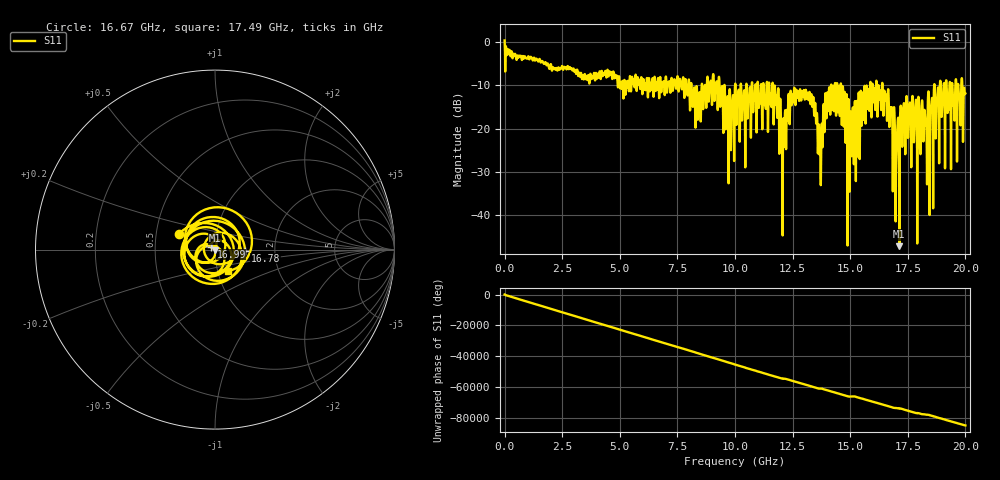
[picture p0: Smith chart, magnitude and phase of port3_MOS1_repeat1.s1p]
! MS46122B
! 2250307/22442219
! 7/23/2025 1:18:31 PM
! C:\USERS\SPARKY\DOCUMENTS\VNA_DATA\JULY23_2025\295K\PORT3_MOS1_REPEAT1.S1P
! CHANNEL.1
! TR.MEASUREMENT
! RAW.DATA
# GHZ S RI R 50.0
! FREQ.GHZ  S11RE  S11IM
!; PortSelection: Port_1
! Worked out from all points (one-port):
!   10001 points, 1 MHz to 20 GHz, reference 50 ohm
!   lowest |S11| = -47.2 dB at 17.13 GHz (marker M1), VSWR 1.01, Z = 50 - j0.436 ohm
!   |S11| at or under -10 dB: 11.65 GHz to 14.17 GHz (2.524 GHz wide, 19.6 % of centre); 14.6 GHz to 15.86 GHz (1.26 GHz wide, 8.27 % of centre); 16.41 GHz to 18.64 GHz (2.238 GHz wide, 12.8 % of centre) (the widest 3 of 71)
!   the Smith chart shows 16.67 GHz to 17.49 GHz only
!   S11 on the Smith chart (normalised r, x): 16.67 GHz: 0.66, +0.12; 16.78 GHz: 1.40, -0.02; 16.99 GHz: 0.95, +0.03; 17.49 GHz: 1.13, -0.27
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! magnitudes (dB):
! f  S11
! 1 MHz  0.4
! 2.501 GHz  -5.5
! 5.001 GHz  -10.2
! 7.501 GHz  -7.9
! 8.447 GHz  -11.9
! 9.125 GHz  -12.1
! 9.657 GHz  -13.5
! 10 GHz  -10.1
! 11.56 GHz  -11.9
! 11.8 GHz  -12.5
! 12.13 GHz  -22.6
! 12.5 GHz  -12.1
! 13.31 GHz  -12.0
! 13.68 GHz  -25.8
! 13.92 GHz  -11.8
! 14.26 GHz  -10.1
! 15 GHz  -17.2
! 15.8 GHz  -10.9
! 16.67 GHz  -13.2
! 16.78 GHz  -15.5
! 16.99 GHz  -30.9
! 17.05 GHz  -19.6
! 17.13 GHz  -47.2
! 17.49 GHz  -17.0
! 17.5 GHz  -21.1
! 18.26 GHz  -17.9
! 18.99 GHz  -15.3
! 20 GHz  -11.9
